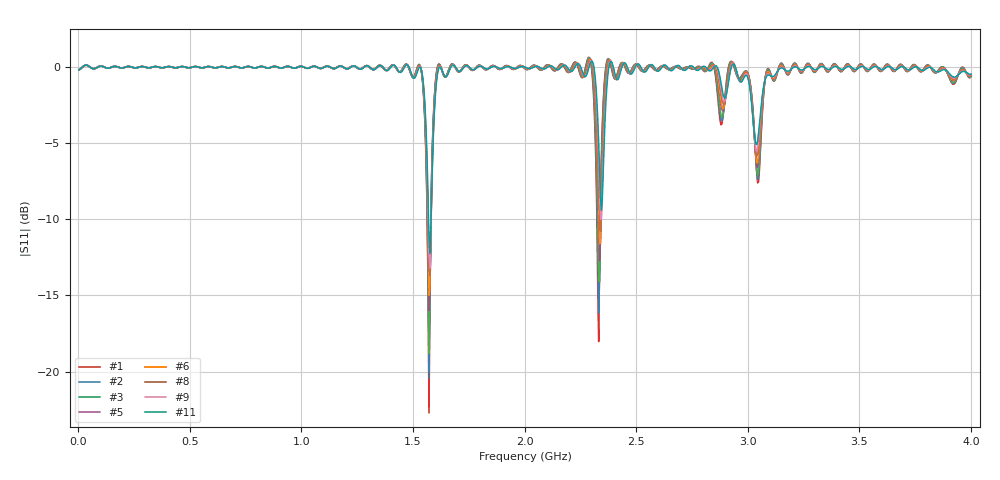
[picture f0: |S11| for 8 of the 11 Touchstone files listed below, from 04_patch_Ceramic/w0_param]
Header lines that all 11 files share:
! TOUCHSTONE file generated by CST MICROWAVE STUDIO
! Project name: AppElm_antenne_patch_Alumina.cst
! Header version: 2018
! Port assignment regex: !\s*Touchstone port\s*([0-9]+)\s*=\s*(CST MWS port|CST DS port)\s*([0-9]+|Zmin|Zmax)\s*\(\"(.*)\"\)(\s*mode\s*([0-9]+))?.*
! Touchstone port assignment:
! Touchstone port 1 = CST MWS port 1 ("")
# GHz S MA R 50
Fixed: L = 30.5, W = 41.8, e = 0.035, h = 1.6, lambda = 0.190476, ls = 90, w1 = 0.373, ws = 90, y0 = 14, y1 = 10
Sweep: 4 MHz to 4 GHz
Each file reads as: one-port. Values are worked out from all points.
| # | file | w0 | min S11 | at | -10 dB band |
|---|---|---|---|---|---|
| 1 | AppElm_antenne_patch_Alumina_1.s1p | 0.84 | -22.7 dB | 1.572 GHz | 16.19 MHz wide |
| 2 | AppElm_antenne_patch_Alumina_2.s1p | 0.896 | -20.5 dB | 1.572 GHz | 16.09 MHz wide |
| 3 | AppElm_antenne_patch_Alumina_3.s1p | 0.952 | -18.8 dB | 1.572 GHz | 15.93 MHz wide |
| 4 | AppElm_antenne_patch_Alumina_4.s1p | 1.008 | -17.2 dB | 1.572 GHz | 15.59 MHz wide |
| 5 | AppElm_antenne_patch_Alumina_5.s1p | 1.064 | -16.0 dB | 1.572 GHz | 15.19 MHz wide |
| 6 | AppElm_antenne_patch_Alumina_6.s1p | 1.12 | -15.0 dB | 1.572 GHz | 14.73 MHz wide |
| 7 | AppElm_antenne_patch_Alumina_7.s1p | 1.176 | -14.1 dB | 1.576 GHz | 14.05 MHz wide |
| 8 | AppElm_antenne_patch_Alumina_8.s1p | 1.232 | -13.7 dB | 1.576 GHz | 13.37 MHz wide |
| 9 | AppElm_antenne_patch_Alumina_9.s1p | 1.288 | -13.2 dB | 1.576 GHz | 12.68 MHz wide |
| 10 | AppElm_antenne_patch_Alumina_10.s1p | 1.344 | -12.7 dB | 1.576 GHz | 11.84 MHz wide |
| 11 | AppElm_antenne_patch_Alumina_11.s1p | 1.4 | -12.2 dB | 1.576 GHz | 10.96 MHz wide |
